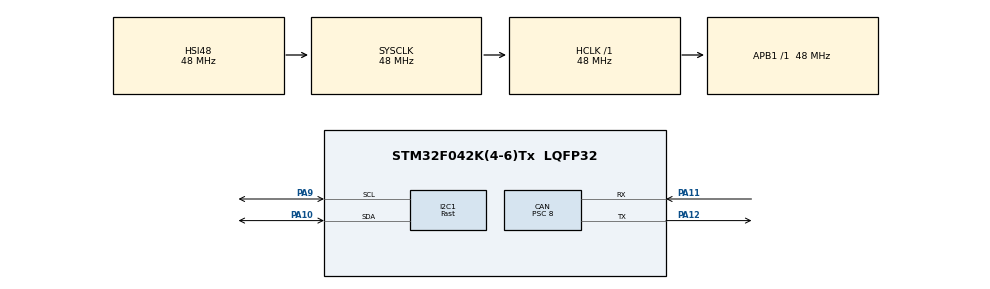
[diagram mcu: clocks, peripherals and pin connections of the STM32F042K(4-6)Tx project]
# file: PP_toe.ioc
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CAN.BS1=CAN_BS1_5TQ
CAN.BS2=CAN_BS2_6TQ
CAN.CalculateBaudRate=500000
CAN.CalculateTimeBit=2000
CAN.CalculateTimeQuantum=166.66666666666666
CAN.Prescaler=8
I2C1.I2C_Speed_Mode=I2C_Fast
I2C1.Timing=0x0000020B
Mcu.Family=STM32F0
Mcu.Name=STM32F042K(4-6)Tx
Mcu.Package=LQFP32
NVIC.CEC_CAN_IRQn=true\:0\:0\:false\:false\:true\:true\:true
PA10.Mode=I2C
PA10.Signal=I2C1_SDA
PA11.Mode=CAN_Activate
PA11.Signal=CAN_RX
PA12.Mode=CAN_Activate
PA12.Signal=CAN_TX
PA13.Mode=Serial_Wire
PA13.Signal=SYS_SWDIO
PA14.Mode=Serial_Wire
PA14.Signal=SYS_SWCLK
PA9.Mode=I2C
PA9.Signal=I2C1_SCL
ProjectManager.HeapSize=0x200
ProjectManager.StackSize=0x400
ProjectManager.TargetToolchain=MDK-ARM V5
RCC.AHBFreq_Value=48000000
RCC.APB1Freq_Value=48000000
RCC.APB1TimFreq_Value=48000000
RCC.HCLKFreq_Value=48000000
RCC.SYSCLKFreq_VALUE=48000000
RCC.SYSCLKSource=RCC_SYSCLKSOURCE_HSI48
board=custom

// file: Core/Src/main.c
/* USER CODE BEGIN Header */
/**
  ******************************************************************************
  * @file           : main.c
  * @brief          : Main program body
  ******************************************************************************
  * @attention
  *
  * Copyright (c) 2022 STMicroelectronics.
  * All rights reserved.
  *
  * This software is licensed under terms that can be found in the LICENSE file
  * in the root directory of this software component.
  * If no LICENSE file comes with this software, it is provided AS-IS.
  *
  ******************************************************************************
  */
/* USER CODE END Header */
#include "main.h"
#include "can.h"
#include "i2c.h"
#include "gpio.h"

/* USER CODE BEGIN Includes */
#include "mpu6050.h"
#include "inv_mpu.h"
#include "inv_mpu_dmp_motion_driver.h"
/* USER CODE END Includes */

/* USER CODE BEGIN PV */
static CAN_TxHeaderTypeDef        TxMessage;    //CAN发送的消息的消息头
static CAN_RxHeaderTypeDef        RxMessage;    //CAN接收的消息的消息头

volatile float pitch,roll,yaw;//欧拉角
uint8_t uart_buf_imu[6];//串口发送陀螺仪数据容器

uint8_t canOrderBuffer[8] = {0xA1, 0xA2, 0xA3, 0xA4};//向主机发送的命令

uint8_t collect_start = 0;//采集开始标志位
uint8_t collect_over = 0;//采集结束标志位

uint8_t send_data = 0;//发送数据标志位

uint8_t flag_send_over = 0;//允许发送采集结束标志的标志位
/* USER CODE END PV */

void SystemClock_Config(void);
/* USER CODE BEGIN PFP */
static void CANFilter_Config(void);
void CAN_Send_Order(uint8_t orderD);
void CAN_Send_Data(uint8_t aData[]);
void MPU6050_Get_Data(void);

/* USER CODE END PFP */

int main(void)
{

  /* MCU Configuration--------------------------------------------------------*/

  /* Reset of all peripherals, Initializes the Flash interface and the Systick. */
  HAL_Init();

  /* Configure the system clock */
  SystemClock_Config();

  /* Initialize all configured peripherals */
  MX_GPIO_Init();
  MX_CAN_Init();
  MX_I2C1_Init();
  /* USER CODE BEGIN 2 */
	/* 1. CAN Filter Config */
	CANFilter_Config();
	/* 2. CAN Start */
	if(HAL_CAN_Start(&hcan) != HAL_OK)
	{
		Error_Handler();
	}
  /* 3. Enable CAN RX Interrupt */
	if(HAL_CAN_ActivateNotification(&hcan, CAN_IT_RX_FIFO0_MSG_PENDING) != HAL_OK)
	{
		Error_Handler();
	}

	MPU_Init();//初始化MPU6050
	while(mpu_dmp_init())
	{
	}//等待mpu_dmp初始化

  /* USER CODE END 2 */

  /* Infinite loop */
  /* USER CODE BEGIN WHILE */
  while (1)
  {
		if(collect_start)
		{
			MPU6050_Get_Data();
			collect_start = 0;
		}

		if(collect_over)
		{
			CAN_Send_Order(canOrderBuffer[3]);
			collect_over = 0;
		}

		if(send_data)
		{
			CAN_Send_Data(uart_buf_imu);
			send_data = 0;
		}
    /* USER CODE END WHILE */

  }
}

void SystemClock_Config(void)
{
  RCC_OscInitTypeDef RCC_OscInitStruct = {0};
  RCC_ClkInitTypeDef RCC_ClkInitStruct = {0};
  RCC_PeriphCLKInitTypeDef PeriphClkInit = {0};

  /** Initializes the RCC Oscillators according to the specified parameters
  * in the RCC_OscInitTypeDef structure.
  */
  RCC_OscInitStruct.OscillatorType = RCC_OSCILLATORTYPE_HSI|RCC_OSCILLATORTYPE_HSI48;
  RCC_OscInitStruct.HSIState = RCC_HSI_ON;
  RCC_OscInitStruct.HSI48State = RCC_HSI48_ON;
  RCC_OscInitStruct.HSICalibrationValue = RCC_HSICALIBRATION_DEFAULT;
  RCC_OscInitStruct.PLL.PLLState = RCC_PLL_NONE;
  if (HAL_RCC_OscConfig(&RCC_OscInitStruct) != HAL_OK)
  {
    Error_Handler();
  }
  /** Initializes the CPU, AHB and APB buses clocks
  */
  RCC_ClkInitStruct.ClockType = RCC_CLOCKTYPE_HCLK|RCC_CLOCKTYPE_SYSCLK
                              |RCC_CLOCKTYPE_PCLK1;
  RCC_ClkInitStruct.SYSCLKSource = RCC_SYSCLKSOURCE_HSI48;
  RCC_ClkInitStruct.AHBCLKDivider = RCC_SYSCLK_DIV1;
  RCC_ClkInitStruct.APB1CLKDivider = RCC_HCLK_DIV1;

  if (HAL_RCC_ClockConfig(&RCC_ClkInitStruct, FLASH_LATENCY_1) != HAL_OK)
  {
    Error_Handler();
  }
  PeriphClkInit.PeriphClockSelection = RCC_PERIPHCLK_I2C1;
  PeriphClkInit.I2c1ClockSelection = RCC_I2C1CLKSOURCE_HSI;
  if (HAL_RCCEx_PeriphCLKConfig(&PeriphClkInit) != HAL_OK)
  {
    Error_Handler();
  }
}

/* USER CODE BEGIN 4 */
/**
  * @brief CAN过滤器配置函数（掩码全为零，不进行过滤）
  * @retval None
  */
static void CANFilter_Config(void)
{
    CAN_FilterTypeDef  sFilterConfig;
		uint32_t StdId_mast = 0x111;//主机地址

    sFilterConfig.FilterBank = 0;                       //CAN过滤器编号，过滤器0
    sFilterConfig.FilterMode = CAN_FILTERMODE_IDLIST;   //CAN过滤器模式，列表模式
    sFilterConfig.FilterScale = CAN_FILTERSCALE_16BIT;  //CAN过滤器尺度，16位
    sFilterConfig.FilterIdHigh = StdId_mast << 5;			  //16位下，存储主机的ID
    sFilterConfig.FilterIdLow = 0x0000;
    sFilterConfig.FilterMaskIdHigh = 0x0000;
    sFilterConfig.FilterMaskIdLow = 0x0000;
    sFilterConfig.FilterFIFOAssignment = 0;				      //报文通过过滤器的匹配后，存储到哪个FIFO
    sFilterConfig.FilterActivation = ENABLE;    		    //激活过滤器
    sFilterConfig.SlaveStartFilterBank = 0;

    if (HAL_CAN_ConfigFilter(&hcan, &sFilterConfig) != HAL_OK) {
        Error_Handler();
    }
}

/**
  * @brief CAN发送命令函数
  * @retval None
  */
void CAN_Send_Order(uint8_t orderD)
{
	uint8_t dataO[1];
	dataO[0] = orderD;

	uint32_t TxMailbox;
	TxMessage.IDE = CAN_ID_STD;     //设置ID类型，标准模式
	TxMessage.StdId = 0x121;        //设置ID号，标识符，可进行过滤
	TxMessage.RTR = CAN_RTR_DATA;   //设置传送数据帧
	TxMessage.DLC = 1;              //设置数据长度

	if (HAL_CAN_AddTxMessage(&hcan, &TxMessage, dataO, &TxMailbox) != HAL_OK)
	{
		Error_Handler();
  }
}

/**
  * @brief  CAN 发送数据函数
  * @param  aData: 发送的数据
  * @param  len: 数据的长度
  * @retval None
  */
void CAN_Send_Data(uint8_t aData[])
{
	uint32_t TxMailbox;

	TxMessage.IDE = CAN_ID_STD;     //设置ID类型
	TxMessage.StdId = 0x121;        //设置ID号，标识符，可进行过滤
	TxMessage.RTR = CAN_RTR_DATA;   //设置传送数据帧
	TxMessage.DLC = 6;              //设置数据长度

	if (HAL_CAN_AddTxMessage(&hcan, &TxMessage, aData, &TxMailbox) != HAL_OK)
	{
		Error_Handler();
	}
}

/**
  * @brief CAN接收中断处理函数
  * @retval None
  */
void HAL_CAN_RxFifo0MsgPendingCallback(CAN_HandleTypeDef *hcan)
{
	uint8_t  data[8];

	if(HAL_CAN_GetRxMessage(hcan, CAN_RX_FIFO0, &RxMessage, data) == HAL_OK)
	{
		switch(data[0])
		{
			case 0x01:
				CAN_Send_Order(canOrderBuffer[0]);
				break;
			case 0xB1:
				send_data = 1;
				break;
			case 0xC1:
				collect_start = 1;
				flag_send_over = 1;
				break;
			case 0xC2://该部分没用，只是为了从机程序统一
				collect_start = 1;
				break;
			case 0xC3://该部分没用，只是为了从机程序统一
				collect_start = 1;
				break;
		}
	}
}

/**
  * @brief 读取IMU信息
  * @retval None
  */
void MPU6050_Get_Data(void)
{
	while(mpu_dmp_get_data(&pitch,&roll,&yaw)!=0){ }

	uart_buf_imu[0]=(short)pitch>>8;
	uart_buf_imu[1]=(short)pitch&0XFF;
	uart_buf_imu[2]=(short)roll>>8;
	uart_buf_imu[3]=(short)roll&0XFF;
	uart_buf_imu[4]=(short)yaw>>8;
	uart_buf_imu[5]=(short)yaw&0XFF;

	if(flag_send_over)//如果允许发送采集结束标志
	{
		collect_over = 1;
	}
}
/* USER CODE END 4 */

void Error_Handler(void)
{
  __disable_irq();
  while (1)
  {
  }
}
